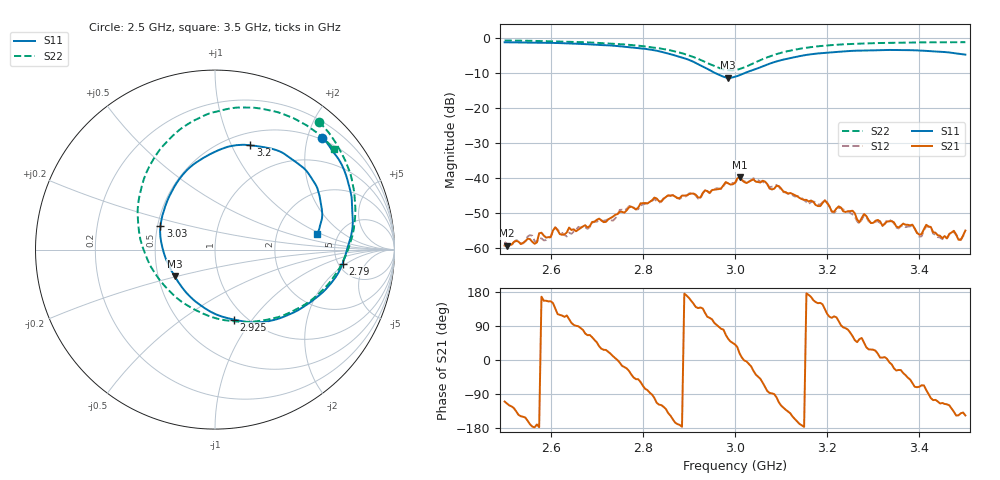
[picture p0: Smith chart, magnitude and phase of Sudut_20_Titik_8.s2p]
# Hz S RI R 50
! CMT, C1220, 16058040, 17.2.0/1
! Date: 15/08/2018 09:53:52
! Data: Format (Calibration Info)
! Freq  S11: Re/Im (F2)  S21: Re/Im (F2)  S12: Re/Im (F2)  S22: Re/Im (F2)
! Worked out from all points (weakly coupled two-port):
!   201 points, 2.5 GHz to 3.5 GHz, reference 50 ohm
!   highest |S21| = -39.78 dB at 3.01 GHz (marker M1); lowest = -59.3 dB at 2.505 GHz (marker M2)
!   lowest |S11| = -11.4 dB at 2.985 GHz (marker M3), VSWR 1.74, Z = 30.5 - j9.75 ohm
!   |S11| at or under -10 dB: 2.956 GHz to 3.022 GHz (65.42 MHz wide, 2.19 % of centre)
!   |S22| runs from -9.3 to -0.7 dB; largest |S21 - S12| = 0.00086
!   S11 on the Smith chart (normalised r, x): 2.5 GHz: 0.46, +2.27; 2.79 GHz: 5.46, -1.73; 2.925 GHz: 0.88, -0.82; 3.03 GHz: 0.52, +0.15; 3.2 GHz: 0.64, +1.18; 3.5 GHz: 3.47, +0.89
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2.5e9  0.5986 0.6243  -0.000366 -0.00102  -0.000389 -0.00116  0.5789 0.7128
2.505e9  0.6047 0.6172  -0.000453 -0.000986  -0.000521 -0.00103  0.5846 0.7072
2.67e9  0.7587 0.305  0.000375 0.002  0.000525 0.00198  0.7488 0.4379
2.79e9  0.7111 -0.0775  0.00239 -0.00292  0.00205 -0.00294  0.769 0.0904
2.835e9  0.5995 -0.2386  -0.00218 -0.00413  -0.00195 -0.00399  0.7054 -0.0811
2.925e9  0.1056 -0.3895  -0.00394 0.00348  -0.00389 0.00324  0.2871 -0.3911
2.985e9  -0.2248 -0.1484  0.00467 0.00697  0.00436 0.00727  -0.1815 -0.294
3e9  -0.2734 -0.053  0.0064 0.00559  0.00659 0.00534  -0.2787 -0.2046
3.01e9  -0.2929 0.0105  0.00979 0.00304  0.00935 0.00314  -0.3327 -0.1345
3.03e9  -0.3037 0.1326  0.00869 -0.00155  0.00879 -0.00152  -0.4043 0.0164
3.1e9  -0.1376 0.4603  -0.00355 -0.00613  -0.0037 -0.00566  -0.3394 0.5095
3.17e9  0.1046 0.5796  -0.00422 0.00171  -0.00441 0.0014  -0.0714 0.7416
3.2e9  0.1973 0.5809  -0.0023 0.00372  -0.00219 0.00393  0.0412 0.7771
3.27e9  0.3823 0.536  0.00134 0.00191  0.00127 0.00182  0.2631 0.7841
3.28e9  0.403 0.5216  0.00214 0.00218  0.002 0.00211  0.2898 0.7789
3.335e9  0.5077 0.4408  0.0024 -0.000261  0.00251 -0.000384  0.4167 0.7408
3.4e9  0.5762 0.3231  0.000516 -0.00146  0.000428 -0.00139  0.5331 0.6758
3.415e9  0.5845 0.2875  0.000399 -0.00211  0.000435 -0.00199  0.5575 0.6589
3.45e9  0.5972 0.2024  -0.000549 -0.00127  -0.000593 -0.0012  0.6063 0.6181
3.475e9  0.5884 0.146  -0.00128 -0.00121  -0.00124 -0.00118  0.6353 0.5887
3.49e9  0.5789 0.1093  -0.00101 -0.000832  -0.00103 -0.000812  0.6532 0.5698
3.5e9  0.5696 0.0862  -0.00148 -0.000989  -0.00142 -0.000865  0.6641 0.558
